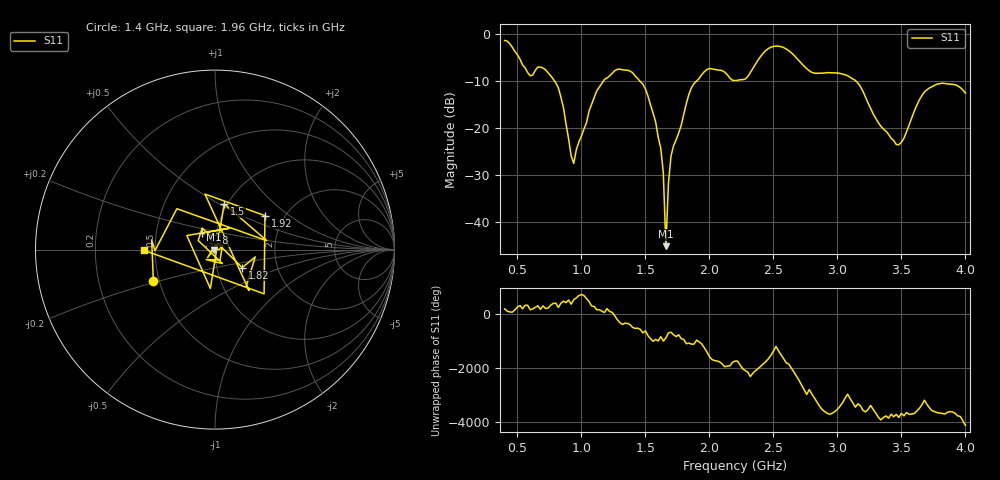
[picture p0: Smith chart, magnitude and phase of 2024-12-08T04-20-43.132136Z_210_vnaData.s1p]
!Created with skrf (http://scikit-rf.org).
# Hz S RI R 50.0
!freq ReS11 ImS11
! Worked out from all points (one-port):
!   181 points, 400 MHz to 4 GHz, reference 50 ohm
!   lowest |S11| = -45.2 dB at 1.66 GHz (marker M1), VSWR 1.01, Z = 49.5 - j0.0261 ohm
!   |S11| at or under -10 dB: 789.4 MHz to 1.172 GHz (383 MHz wide, 39 % of centre); 1.456 GHz to 1.902 GHz (446 MHz wide, 26.6 % of centre); 3.144 GHz to end of sweep
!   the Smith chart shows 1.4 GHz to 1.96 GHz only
!   S11 on the Smith chart (normalised r, x): 1.4 GHz: 0.46, -0.19; 1.5 GHz: 0.97, +0.53; 1.58 GHz: 0.86, +0.16; 1.82 GHz: 1.32, -0.28; 1.92 GHz: 1.59, +0.68; 1.96 GHz: 0.43, -0.00
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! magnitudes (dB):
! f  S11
! 400 MHz  -1.4
! 600 MHz  -8.9
! 660 MHz  -7.0
! 760 MHz  -8.9
! 860 MHz  -15.8
! 940 MHz  -27.6
! 1.12 GHz  -12.1
! 1.3 GHz  -7.5
! 1.4 GHz  -8.3
! 1.5 GHz  -11.7
! 1.58 GHz  -18.7
! 1.64 GHz  -29.6
! 1.66 GHz  -45.2
! 1.68 GHz  -31.9
! 1.7 GHz  -26.0
! 1.76 GHz  -21.1
! 1.82 GHz  -14.8
! 1.92 GHz  -9.5
! 1.96 GHz  -8.0
! 2.2 GHz  -9.9
! 2.48 GHz  -2.8
! 2.66 GHz  -4.5
! 2.8 GHz  -8.2
! 3.1 GHz  -9.3
! 3.46 GHz  -23.6
! 3.56 GHz  -19.4
! 3.72 GHz  -11.5
! 4 GHz  -12.6
